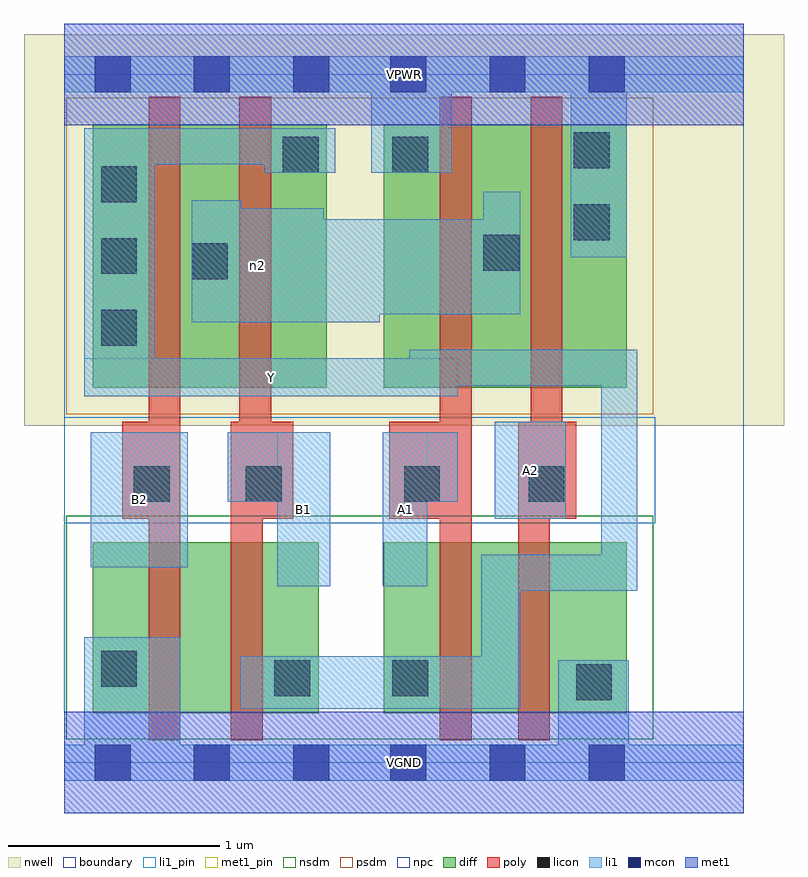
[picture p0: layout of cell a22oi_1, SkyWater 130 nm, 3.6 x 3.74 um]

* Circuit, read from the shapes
.subckt a22oi_1 A1 A2 B1 B2 VGND VPWR Y n2
XM1 n1 B2 VGND VSUBS sky130_fd_pr__nfet_01v8 w=0.81 l=0.15
XM2 Y B1 n1 VSUBS sky130_fd_pr__nfet_01v8 w=0.81 l=0.15
XM3 n3 A1 Y VSUBS sky130_fd_pr__nfet_01v8 w=0.81 l=0.15
XM4 VGND A2 n3 VSUBS sky130_fd_pr__nfet_01v8 w=0.81 l=0.15
XM5 n2 B2 Y n4 sky130_fd_pr__pfet_01v8 w=1.25 l=0.15
XM6 Y B1 n2 n4 sky130_fd_pr__pfet_01v8 w=1.25 l=0.15
XM7 n2 A1 VPWR n4 sky130_fd_pr__pfet_01v8 w=1.25 l=0.15
XM8 VPWR A2 n2 n4 sky130_fd_pr__pfet_01v8 w=1.25 l=0.15
.ends

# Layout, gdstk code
import gdstk
lib = gdstk.Library(unit=1e-6, precision=1e-09)
def R(c, l, rs):  # rectangles x0, y0, x1, y1
    for r in rs: c.add(gdstk.rectangle(r[:2], r[2:], *l))
def A(c, l, x, y, w, h, nx, ny, dx, dy):  # array of equal rectangles
    R(c, l, [(x+i*dx, y+j*dy, x+i*dx+w, y+j*dy+h) for i in range(nx) for j in range(ny)])
nwell = (64, 20)
diff = (65, 20)
poly = (66, 20)
licon = (66, 44)
li1_pin = (67, 16)
li1 = (67, 20)
mcon = (67, 44)
met1_pin = (68, 16)
met1 = (68, 20)
nsdm = (93, 44)
psdm = (94, 20)
npc = (95, 20)
boundary = (235, 4)

a22oi_1 = lib.new_cell('a22oi_1')
R(a22oi_1, nwell, [(-0.19,1.595,3.41,3.45), (0,1.595,3.22,3.45)])
R(a22oi_1, diff, [(0.135,0.235,1.205,1.045), (1.515,0.235,2.665,1.045), (0.135,1.775,1.245,3.025), (1.515,1.775,2.665,3.025)])
R(a22oi_1, poly, [(0.4,0.105,0.55,3.155), (0.79,0.105,0.94,1.615), (1.78,0.105,1.93,3.155), (2.15,0.105,2.3,1.615), (0.275,1.155,0.55,1.615), (0.79,1.155,1.085,1.615), (0.83,1.155,0.98,3.155), (1.54,1.155,1.93,1.615), (2.15,1.155,2.425,1.615), (2.21,1.155,2.36,3.155)])
A(a22oi_1, licon, 0.175, 1.975, 0.17, 0.17, 1, 3, 0, 0.34)
R(a22oi_1, licon, [(2.425,0.295,2.595,0.465), (0.995,0.315,1.165,0.485), (1.555,0.315,1.725,0.485), (0.175,0.36,0.345,0.53), (0.33,1.235,0.5,1.405), (0.86,1.235,1.03,1.405), (1.61,1.235,1.78,1.405), (2.2,1.235,2.37,1.405), (0.605,2.29,0.775,2.46), (1.985,2.33,2.155,2.5), (2.415,2.475,2.585,2.645), (1.035,2.795,1.205,2.965), (1.555,2.795,1.725,2.965), (2.415,2.815,2.585,2.985)])
R(a22oi_1, li1_pin, [(1.01,0.835,1.26,1.565), (1.51,0.835,1.72,1.565), (0.125,0.925,0.585,1.565), (2.04,1.155,2.375,1.615), (0.095,1.735,1.865,1.915)])
R(a22oi_1, li1, [(0,-0.085,3.22,0.085), (0.095,-0.085,0.55,0.595), (2.34,-0.085,2.675,0.485), (0.835,0.255,2.16,0.505), (1.975,0.255,2.16,0.985), (1.975,0.815,2.715,0.985), (2.545,0.815,2.715,1.955), (1.01,0.835,1.26,1.565), (1.51,0.835,1.72,1.565), (0.125,0.925,0.585,1.565), (2.04,1.155,2.375,1.615), (0.775,1.235,1.26,1.565), (1.51,1.235,1.865,1.565), (0.095,1.735,0.43,3.005), (0.095,1.735,1.865,1.915), (1.635,1.785,2.715,1.955), (0.605,2.085,1.23,2.625), (0.605,2.085,1.495,2.575), (0.605,2.085,0.84,2.665), (0.605,2.125,2.16,2.575), (1.985,2.125,2.16,2.705), (2.4,2.395,2.665,3.345), (0.95,2.795,1.285,3.005), (1.455,2.795,1.835,3.345), (0.095,2.835,1.285,3.005), (0,3.175,3.22,3.345)])
A(a22oi_1, mcon, 0.145, -0.085, 0.17, 0.17, 3, 2, 0.47, 3.26)
A(a22oi_1, mcon, 1.545, -0.085, 0.17, 0.17, 3, 2, 0.47, 3.26)
R(a22oi_1, met1_pin, [(0,-0.24,3.22,0.24), (0,3.02,3.22,3.5)])
R(a22oi_1, met1, [(0,-0.24,3.22,0.24), (0,3.02,3.22,3.5)])
R(a22oi_1, nsdm, [(0.01,0.11,2.79,1.17)])
R(a22oi_1, psdm, [(0.01,1.65,2.79,3.15)])
R(a22oi_1, npc, [(0,1.135,2.8,1.635)])
R(a22oi_1, boundary, [(0,0,3.22,3.26)])
a22oi_1.add(gdstk.Label('A1', (1.615,1.2), layer=67, texttype=5))
a22oi_1.add(gdstk.Label('A2', (2.207,1.385), layer=67, texttype=5))
a22oi_1.add(gdstk.Label('B1', (1.135,1.2), layer=67, texttype=5))
a22oi_1.add(gdstk.Label('B2', (0.355,1.245), layer=67, texttype=5))
a22oi_1.add(gdstk.Label('Y', (0.98,1.825), layer=67, texttype=5))
a22oi_1.add(gdstk.Label('n2', (0.917,2.355), layer=67, texttype=5))
a22oi_1.add(gdstk.Label('VPWR', (1.61,3.26), layer=68, texttype=5))
a22oi_1.add(gdstk.Label('VGND', (1.61,0), layer=68, texttype=5))
a22oi_1.add(gdstk.Label('A1', (1.615,1.2), layer=67, texttype=16))
a22oi_1.add(gdstk.Label('A2', (2.207,1.385), layer=67, texttype=16))
a22oi_1.add(gdstk.Label('B1', (1.135,1.2), layer=67, texttype=16))
a22oi_1.add(gdstk.Label('B2', (0.355,1.245), layer=67, texttype=16))
a22oi_1.add(gdstk.Label('Y', (0.98,1.825), layer=67, texttype=16))
a22oi_1.add(gdstk.Label('VPWR', (1.61,3.26), layer=68, texttype=16))
a22oi_1.add(gdstk.Label('VGND', (1.61,0), layer=68, texttype=16))

lib.write_gds('a22oi_1.gds')
